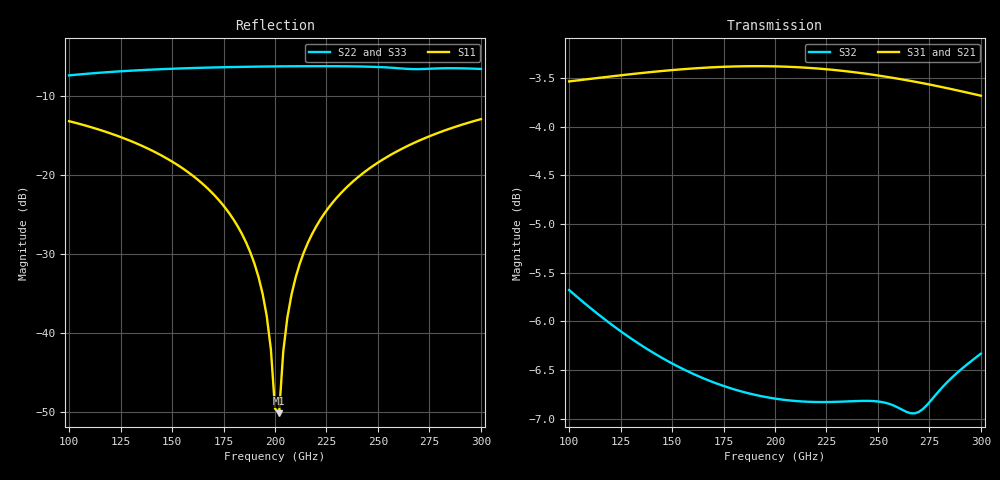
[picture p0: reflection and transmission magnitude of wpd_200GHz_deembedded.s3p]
! Created with skrf 2.2.0 (http://scikit-rf.org).
# GHz S DB R 50.0
! Port[1] = P1
! Port[2] = P2
! Port[3] = P3
!freq dBS11 angS11 dBS12 angS12 dBS13 angS13
! dBS21 angS21 dBS22 angS22 dBS23 angS23
! dBS31 angS31 dBS32 angS32 dBS33 angS33
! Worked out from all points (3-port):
!   101 points, 100 GHz to 300 GHz, reference 50 ohm
!   strongest paths, dB at 100 GHz, 150 GHz, 200 GHz, 250 GHz, 300 GHz:
!     S31: -3.5, -3.4, -3.4, -3.5, -3.7
!     S21: -3.5, -3.4, -3.4, -3.5, -3.7
!     S32: -5.7, -6.4, -6.8, -6.8, -6.3
!   lowest |S11| = -50.2 dB at 202 GHz (marker M1), VSWR 1.01, Z = 50.2 - j0.214 ohm
!   |S11| at or under -10 dB: start of sweep to end of sweep
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100  -13.16 138.0  -3.55 -43.0  -3.54 -42.9
     -3.55 -43.0  -7.34 52.4  -5.68 -96.5
     -3.54 -42.9  -5.68 -96.5  -7.37 52.3
178  -24.92 104.0  -3.40 -78.0  -3.38 -78.0
     -3.40 -78.0  -6.30 6.2  -6.68 -160.4
     -3.38 -78.0  -6.68 -160.4  -6.32 6.1
194  -35.07 92.7  -3.40 -85.3  -3.38 -85.4
     -3.40 -85.3  -6.23 -1.6  -6.77 -173.2
     -3.38 -85.4  -6.77 -173.2  -6.25 -1.6
198  -42.09 82.7  -3.40 -87.2  -3.38 -87.2
     -3.40 -87.2  -6.21 -3.4  -6.79 -176.3
     -3.38 -87.2  -6.79 -176.3  -6.23 -3.5
200  -49.61 59.4  -3.40 -88.1  -3.38 -88.1
     -3.40 -88.1  -6.21 -4.4  -6.79 -177.9
     -3.38 -88.1  -6.79 -177.9  -6.23 -4.4
202  -50.22 -43.8  -3.40 -89.0  -3.38 -89.1
     -3.40 -89.0  -6.20 -5.3  -6.80 -179.5
     -3.38 -89.1  -6.80 -179.5  -6.22 -5.4
204  -42.38 -69.8  -3.40 -89.9  -3.38 -90.0
     -3.40 -89.9  -6.20 -6.3  -6.81 178.9
     -3.38 -90.0  -6.81 178.9  -6.22 -6.3
208  -35.18 -80.2  -3.40 -91.8  -3.39 -91.8
     -3.40 -91.8  -6.19 -8.1  -6.81 175.7
     -3.39 -91.8  -6.81 175.7  -6.21 -8.2
224  -24.86 -91.6  -3.42 -99.2  -3.41 -99.2
     -3.42 -99.2  -6.18 -15.7  -6.83 162.9
     -3.41 -99.2  -6.83 162.9  -6.19 -15.7
300  -12.90 -125.1  -3.69 -133.7  -3.68 -133.8
     -3.69 -133.7  -6.53 -52.8  -6.33 102.9
     -3.68 -133.8  -6.33 102.9  -6.53 -52.9
